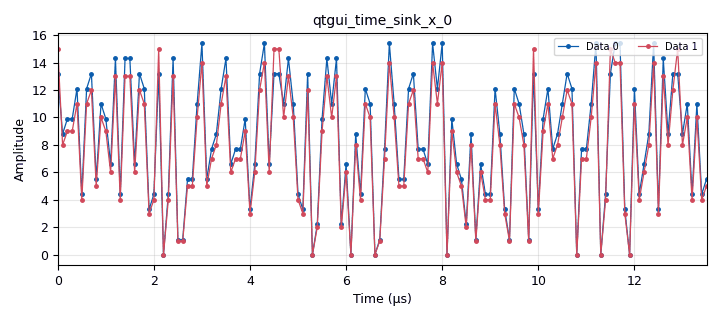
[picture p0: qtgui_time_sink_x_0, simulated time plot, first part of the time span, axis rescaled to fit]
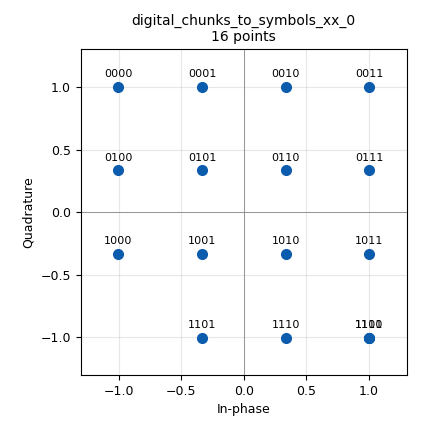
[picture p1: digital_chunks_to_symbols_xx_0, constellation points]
<?xml version='1.0' encoding='utf-8'?>
<?grc format='1' created='3.7.12'?>
<flow_graph>
<block>
<key>options</key>
<param><key>id</key><value>vsrm_ber_test</value></param>
<param><key>author</key><value>Garrett Vanhoy</value></param>
<param><key>generate_options</key><value>qt_gui</value></param>
<param><key>title</key><value>Variable Symbol Rate Modulation BER Test</value></param>
</block>
<block>
<key>variable_constellation</key>
<param><key>id</key><value>const</value></param>
<param><key>const_points</key><value>[-3 + 3j, -1 + 3j, 1 + 3j, 3 + 3j, -3 + 1j, -1 + 1j, 1 + 1j, 3 + 1j, -3 - 1j, -1 - 1j, 1 - 1j, 3  - 1j, --3 - 3j, -1 - 3j, 1 - 3j, 3 - 3j]</value></param>
<param><key>type</key><value>calcdist</value></param>
<param><key>dims</key><value>1</value></param>
<param><key>rot_sym</key><value>4</value></param>
<param><key>precision</key><value>8</value></param>
<param><key>sym_map</key><value>[2, 6, 14, 10, 3, 7, 15, 11, 1, 5, 13, 9, 0, 4, 12, 8]</value></param>
</block>
<block>
<key>variable_cc_decoder_def</key>
<param><key>id</key><value>dec_cc</value></param>
<param><key>padding</key><value>False</value></param>
<param><key>k</key><value>7</value></param>
<param><key>state_end</key><value>-1</value></param>
<param><key>framebits</key><value>60*8</value></param>
<param><key>ndim</key><value>0</value></param>
<param><key>polys</key><value>[79, 109]</value></param>
<param><key>rate</key><value>2</value></param>
<param><key>state_start</key><value>0</value></param>
<param><key>mode</key><value>fec.CC_STREAMING</value></param>
</block>
<block>
<key>variable_dummy_decoder_def</key>
<param><key>id</key><value>dummy_dec</value></param>
<param><key>framebits</key><value>2048</value></param>
<param><key>ndim</key><value>0</value></param>
</block>
<block>
<key>variable_dummy_encoder_def</key>
<param><key>id</key><value>dummy_enc</value></param>
<param><key>framebits</key><value>2048</value></param>
<param><key>ndim</key><value>0</value></param>
</block>
<block>
<key>variable_cc_encoder_def</key>
<param><key>id</key><value>enc_cc</value></param>
<param><key>padding</key><value>False</value></param>
<param><key>k</key><value>7</value></param>
<param><key>framebits</key><value>60*8</value></param>
<param><key>ndim</key><value>0</value></param>
<param><key>polys</key><value>[79, 109]</value></param>
<param><key>rate</key><value>2</value></param>
<param><key>state_start</key><value>0</value></param>
<param><key>mode</key><value>fec.CC_STREAMING</value></param>
</block>
<block>
<key>variable</key>
<param><key>id</key><value>esno_db</value></param>
<param><key>value</key><value>40</value></param>
</block>
<block>
<key>variable</key>
<param><key>id</key><value>samp_rate</value></param>
<param><key>value</key><value>10000000</value></param>
</block>
<block>
<key>variable</key>
<param><key>id</key><value>spread_seq</value></param>
<param><key>value</key><value>(1,)</value></param>
</block>
<block>
<key>analog_fastnoise_source_x</key>
<param><key>id</key><value>analog_fastnoise_source_x_0</value></param>
<param><key>amp</key><value>10.0**(-esno_db/20.0)</value></param>
<param><key>_enabled</key><value>0</value></param>
<param><key>noise_type</key><value>analog.GR_GAUSSIAN</value></param>
<param><key>type</key><value>complex</value></param>
<param><key>seed</key><value>0</value></param>
<param><key>samples</key><value>8192*100</value></param>
</block>
<block>
<key>analog_random_source_x</key>
<param><key>id</key><value>analog_random_source_x_0</value></param>
<param><key>max</key><value>2</value></param>
<param><key>min</key><value>0</value></param>
<param><key>num_samps</key><value>10000000</value></param>
<param><key>type</key><value>byte</value></param>
<param><key>repeat</key><value>True</value></param>
</block>
<block>
<key>blocks_add_xx</key>
<param><key>id</key><value>blocks_add_xx_0</value></param>
<param><key>_enabled</key><value>0</value></param>
<param><key>type</key><value>complex</value></param>
</block>
<block>
<key>blocks_char_to_float</key>
<param><key>id</key><value>blocks_char_to_float_0</value></param>
<param><key>scale</key><value>1</value></param>
</block>
<block>
<key>blocks_char_to_float</key>
<param><key>id</key><value>blocks_char_to_float_0_0</value></param>
<param><key>scale</key><value>1</value></param>
</block>
<block>
<key>blocks_char_to_float</key>
<param><key>id</key><value>blocks_char_to_float_0_1</value></param>
<param><key>_enabled</key><value>0</value></param>
<param><key>scale</key><value>1</value></param>
</block>
<block>
<key>blocks_delay</key>
<param><key>id</key><value>blocks_delay_0</value></param>
<param><key>delay</key><value>0</value></param>
<param><key>type</key><value>byte</value></param>
</block>
<block>
<key>blocks_multiply_const_vxx</key>
<param><key>id</key><value>blocks_multiply_const_vxx_0</value></param>
<param><key>const</key><value>1.1</value></param>
<param><key>type</key><value>float</value></param>
</block>
<block>
<key>blocks_probe_signal_x</key>
<param><key>id</key><value>blocks_probe_signal_x_0</value></param>
<param><key>_enabled</key><value>0</value></param>
<param><key>type</key><value>float</value></param>
</block>
<block>
<key>blocks_repack_bits_bb</key>
<param><key>id</key><value>blocks_repack_bits_bb_0</value></param>
<param><key>k</key><value>1</value></param>
<param><key>l</key><value>const.bits_per_symbol()</value></param>
<param><key>endianness</key><value>gr.GR_LSB_FIRST</value></param>
</block>
<block>
<key>blocks_repack_bits_bb</key>
<param><key>id</key><value>blocks_repack_bits_bb_0_0_0</value></param>
<param><key>k</key><value>1</value></param>
<param><key>l</key><value>8</value></param>
<param><key>endianness</key><value>gr.GR_LSB_FIRST</value></param>
</block>
<block>
<key>blocks_repack_bits_bb</key>
<param><key>id</key><value>blocks_repack_bits_bb_0_0_0_0</value></param>
<param><key>k</key><value>4</value></param>
<param><key>l</key><value>8</value></param>
<param><key>endianness</key><value>gr.GR_LSB_FIRST</value></param>
</block>
<block>
<key>blocks_repack_bits_bb</key>
<param><key>id</key><value>blocks_repack_bits_bb_0_0_0_0_0</value></param>
<param><key>k</key><value>int(np.log2(const.arity()))</value></param>
<param><key>l</key><value>1</value></param>
<param><key>_enabled</key><value>0</value></param>
<param><key>endianness</key><value>gr.GR_LSB_FIRST</value></param>
</block>
<block>
<key>blocks_throttle</key>
<param><key>id</key><value>blocks_throttle_0</value></param>
<param><key>samples_per_second</key><value>samp_rate</value></param>
<param><key>type</key><value>complex</value></param>
</block>
<block>
<key>digital_chunks_to_symbols_xx</key>
<param><key>id</key><value>digital_chunks_to_symbols_xx_0</value></param>
<param><key>dimension</key><value>1</value></param>
<param><key>in_type</key><value>byte</value></param>
<param><key>out_type</key><value>complex</value></param>
<param><key>symbol_table</key><value>const.points()</value></param>
</block>
<block>
<key>digital_constellation_decoder_cb</key>
<param><key>id</key><value>digital_constellation_decoder_cb_0</value></param>
<param><key>constellation</key><value>const</value></param>
</block>
<block>
<key>digital_map_bb</key>
<param><key>id</key><value>digital_map_bb_0</value></param>
<param><key>_enabled</key><value>0</value></param>
<param><key>map</key><value>-1, 1</value></param>
</block>
<block>
<key>fec_ber_bf</key>
<param><key>id</key><value>fec_ber_bf_0</value></param>
<param><key>test_mode</key><value>False</value></param>
</block>
<block>
<key>fec_extended_decoder</key>
<param><key>id</key><value>fec_extended_decoder_0</value></param>
<param><key>decoder_list</key><value>dummy_dec</value></param>
<param><key>_enabled</key><value>0</value></param>
<param><key>puncpat</key><value>'11'</value></param>
<param><key>threadtype</key><value>capillary</value></param>
</block>
<block>
<key>fec_extended_encoder</key>
<param><key>id</key><value>fec_extended_encoder_0</value></param>
<param><key>_enabled</key><value>2</value></param>
<param><key>encoder_list</key><value>dummy_enc</value></param>
<param><key>puncpat</key><value>'11'</value></param>
<param><key>threadtype</key><value>capillary</value></param>
</block>
<block>
<key>import</key>
<param><key>id</key><value>numpy</value></param>
<param><key>import</key><value>import numpy as np</value></param>
</block>
<block>
<key>qtgui_const_sink_x</key>
<param><key>id</key><value>qtgui_const_sink_x_0</value></param>
<param><key>_enabled</key><value>0</value></param>
<param><key>size</key><value>4096</value></param>
<param><key>type</key><value>complex</value></param>
<param><key>update_time</key><value>0.1</value></param>
</block>
<block>
<key>qtgui_number_sink</key>
<param><key>id</key><value>qtgui_number_sink_0</value></param>
<param><key>graph_type</key><value>qtgui.NUM_GRAPH_HORIZ</value></param>
<param><key>type</key><value>float</value></param>
<param><key>color1</key><value>("white", "black")</value></param>
<param><key>max</key><value>0</value></param>
<param><key>min</key><value>-7</value></param>
</block>
<block>
<key>qtgui_time_sink_x</key>
<param><key>id</key><value>qtgui_time_sink_x_0</value></param>
<param><key>color1</key><value>"blue"</value></param>
<param><key>label1</key><value></value></param>
<param><key>marker1</key><value>0</value></param>
<param><key>style1</key><value>2</value></param>
<param><key>color2</key><value>"red"</value></param>
<param><key>label2</key><value></value></param>
<param><key>marker2</key><value>3</value></param>
<param><key>style2</key><value>2</value></param>
<param><key>nconnections</key><value>2</value></param>
<param><key>size</key><value>1024</value></param>
<param><key>srate</key><value>samp_rate</value></param>
<param><key>type</key><value>float</value></param>
</block>
<block>
<key>vsrm_demod</key>
<param><key>id</key><value>vsrm_demod_0</value></param>
<param><key>_enabled</key><value>2</value></param>
<param><key>delay</key><value>0</value></param>
<param><key>spread_seq</key><value>spread_seq</value></param>
</block>
<block>
<key>vsrm_mod</key>
<param><key>id</key><value>vsrm_mod_0</value></param>
<param><key>_enabled</key><value>2</value></param>
<param><key>spread_seq</key><value>spread_seq</value></param>
</block>
<connection><source_block_id>analog_fastnoise_source_x_0</source_block_id><sink_block_id>blocks_add_xx_0</sink_block_id><source_key>0</source_key><sink_key>1</sink_key></connection>
<connection><source_block_id>analog_random_source_x_0</source_block_id><sink_block_id>blocks_delay_0</sink_block_id><source_key>0</source_key><sink_key>0</sink_key></connection>
<connection><source_block_id>analog_random_source_x_0</source_block_id><sink_block_id>fec_extended_encoder_0</sink_block_id><source_key>0</source_key><sink_key>0</sink_key></connection>
<connection><source_block_id>blocks_add_xx_0</source_block_id><sink_block_id>vsrm_demod_0</sink_block_id><source_key>0</source_key><sink_key>0</sink_key></connection>
<connection><source_block_id>blocks_char_to_float_0</source_block_id><sink_block_id>blocks_multiply_const_vxx_0</sink_block_id><source_key>0</source_key><sink_key>0</sink_key></connection>
<connection><source_block_id>blocks_char_to_float_0_0</source_block_id><sink_block_id>qtgui_time_sink_x_0</sink_block_id><source_key>0</source_key><sink_key>1</sink_key></connection>
<connection><source_block_id>blocks_char_to_float_0_1</source_block_id><sink_block_id>fec_extended_decoder_0</sink_block_id><source_key>0</source_key><sink_key>0</sink_key></connection>
<connection><source_block_id>blocks_delay_0</source_block_id><sink_block_id>blocks_repack_bits_bb_0_0_0</sink_block_id><source_key>0</source_key><sink_key>0</sink_key></connection>
<connection><source_block_id>blocks_multiply_const_vxx_0</source_block_id><sink_block_id>qtgui_time_sink_x_0</sink_block_id><source_key>0</source_key><sink_key>0</sink_key></connection>
<connection><source_block_id>blocks_repack_bits_bb_0</source_block_id><sink_block_id>blocks_char_to_float_0_0</sink_block_id><source_key>0</source_key><sink_key>0</sink_key></connection>
<connection><source_block_id>blocks_repack_bits_bb_0</source_block_id><sink_block_id>digital_chunks_to_symbols_xx_0</sink_block_id><source_key>0</source_key><sink_key>0</sink_key></connection>
<connection><source_block_id>blocks_repack_bits_bb_0_0_0</source_block_id><sink_block_id>fec_ber_bf_0</sink_block_id><source_key>0</source_key><sink_key>1</sink_key></connection>
<connection><source_block_id>blocks_repack_bits_bb_0_0_0_0</source_block_id><sink_block_id>fec_ber_bf_0</sink_block_id><source_key>0</source_key><sink_key>0</sink_key></connection>
<connection><source_block_id>blocks_repack_bits_bb_0_0_0_0_0</source_block_id><sink_block_id>digital_map_bb_0</sink_block_id><source_key>0</source_key><sink_key>0</sink_key></connection>
<connection><source_block_id>blocks_throttle_0</source_block_id><sink_block_id>blocks_add_xx_0</sink_block_id><source_key>0</source_key><sink_key>0</sink_key></connection>
<connection><source_block_id>blocks_throttle_0</source_block_id><sink_block_id>vsrm_demod_0</sink_block_id><source_key>0</source_key><sink_key>0</sink_key></connection>
<connection><source_block_id>digital_chunks_to_symbols_xx_0</source_block_id><sink_block_id>vsrm_mod_0</sink_block_id><source_key>0</source_key><sink_key>0</sink_key></connection>
<connection><source_block_id>digital_constellation_decoder_cb_0</source_block_id><sink_block_id>blocks_char_to_float_0</sink_block_id><source_key>0</source_key><sink_key>0</sink_key></connection>
<connection><source_block_id>digital_constellation_decoder_cb_0</source_block_id><sink_block_id>blocks_repack_bits_bb_0_0_0_0</sink_block_id><source_key>0</source_key><sink_key>0</sink_key></connection>
<connection><source_block_id>digital_constellation_decoder_cb_0</source_block_id><sink_block_id>blocks_repack_bits_bb_0_0_0_0_0</sink_block_id><source_key>0</source_key><sink_key>0</sink_key></connection>
<connection><source_block_id>digital_map_bb_0</source_block_id><sink_block_id>blocks_char_to_float_0_1</sink_block_id><source_key>0</source_key><sink_key>0</sink_key></connection>
<connection><source_block_id>fec_ber_bf_0</source_block_id><sink_block_id>blocks_probe_signal_x_0</sink_block_id><source_key>0</source_key><sink_key>0</sink_key></connection>
<connection><source_block_id>fec_ber_bf_0</source_block_id><sink_block_id>qtgui_number_sink_0</sink_block_id><source_key>0</source_key><sink_key>0</sink_key></connection>
<connection><source_block_id>fec_extended_decoder_0</source_block_id><sink_block_id>blocks_repack_bits_bb_0_0_0_0</sink_block_id><source_key>0</source_key><sink_key>0</sink_key></connection>
<connection><source_block_id>fec_extended_encoder_0</source_block_id><sink_block_id>blocks_repack_bits_bb_0</sink_block_id><source_key>0</source_key><sink_key>0</sink_key></connection>
<connection><source_block_id>vsrm_demod_0</source_block_id><sink_block_id>digital_constellation_decoder_cb_0</sink_block_id><source_key>0</source_key><sink_key>0</sink_key></connection>
<connection><source_block_id>vsrm_demod_0</source_block_id><sink_block_id>qtgui_const_sink_x_0</sink_block_id><source_key>0</source_key><sink_key>0</sink_key></connection>
<connection><source_block_id>vsrm_mod_0</source_block_id><sink_block_id>blocks_throttle_0</sink_block_id><source_key>0</source_key><sink_key>0</sink_key></connection>
</flow_graph>
